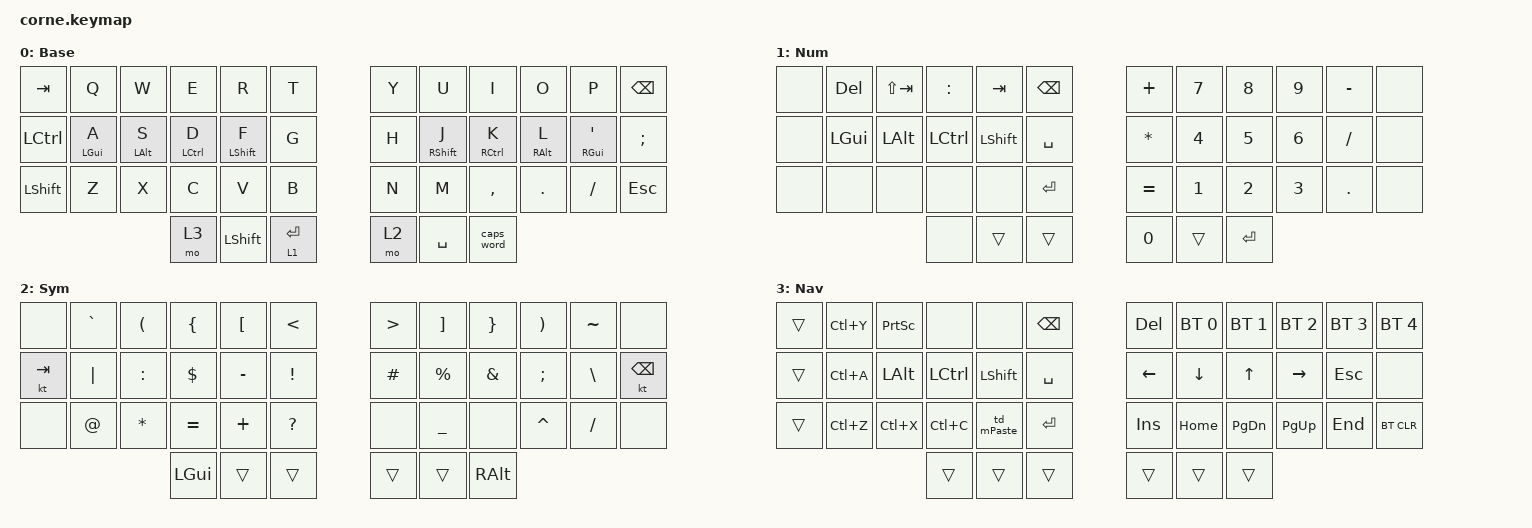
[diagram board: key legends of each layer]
/*
 * Copyright (c) 2020 The ZMK Contributors
 *
 * SPDX-License-Identifier: MIT
 */

#include <behaviors.dtsi>
#include <dt-bindings/zmk/bt.h>
#include <dt-bindings/zmk/keys.h>

&caps_word {
    continue-list = <UNDERSCORE MINUS BACKSPACE SEMICOLON COLON>;
};

/ {

/*                KEY POSITIONS

  ╭─────────────────────╮ ╭─────────────────────╮
  │  0  1  2  3  4  5   │ │  6  7  8  9 10 11   │
  │ 12 13 14 15 16 17   │ │ 18 19 20 21 22 23   │
  │ 24 25 26 27 28 29   │ │ 30 31 32 33 34 35   │
  ╰───────╮ 36 37 38    │ │ 39 40 41   ╭────────╯
          ╰─────────────╯ ╰────────────╯ */


    combos {
        compatible = "zmk,combos";

//        combo_enter {
//            bindings = <&kp ENTER>;
//            key-positions = <7 8>;
//	    timeout-ms = <50>;
//	    require-prior-idle-ms = <150>;
//        };

        combo_tab {
            bindings = <&kp TAB>;
            key-positions = <4 3>;
            timeout-ms = <50>;
	    require-prior-idle-ms = <150>;

        };

        combo_esc {
            bindings = <&kp ESCAPE>;
            key-positions = <2 3>;
            timeout-ms = <50>;
	    require-prior-idle-ms = <150>;

        };
	combo_bspc {
	    bindings = <&kp BSPC>;
	    key-positions = <7 8>;
	    timeout-ms = <50>;
	    require-prior-idle-ms = <150>;

	};
    };

    behaviors {
        td_mPaste: td_mPaste {
            compatible = "zmk,behavior-tap-dance";
            label = "TD_MPASTE";
            #binding-cells = <0>;
            bindings = <&kp LC(V)>, <&kp LG(V)>;
	
        };
	hml: home_row_mod_left {
            compatible = "zmk,behavior-hold-tap";
            #binding-cells = <2>;
	    flavor = "balanced";
            require-prior-idle-ms = <150>;
            tapping-term-ms = <280>;
            quick-tap-ms = <175>;
            bindings = <&kp>, <&kp>;
            hold-trigger-key-positions = < 6 7 8 9 10 11 18 19 20 21 22 23 30 31 32 33 34 35 39 40 41 >; // List of keys on the right side of the keyboard
            hold-trigger-on-release;

        };
        hmr: home_row_mod_right {
            compatible = "zmk,behavior-hold-tap";
            #binding-cells = <2>;
            flavor = "balanced";
            require-prior-idle-ms = <150>;
            tapping-term-ms = <280>;
            quick-tap-ms = <175>;
            bindings = <&kp>, <&kp>;
            hold-trigger-key-positions = < 0 1 2 3 4 5 12 13 14 15 16 17 24 25 26 27 28 29 36 37 38 >; // List of keys on the left side of the keyboard
            hold-trigger-on-release;

	};
/* TODO: Finish magic shift setup. 
	magic_shift: magic_shift {
	    compatible = "zmk,behavior-hold-tap";
/	    #binding-cells = <2>;
/	    flavor = "balanced";
/	    tapping-term-ms = <200>;
/	    quick-tap-ms = <175>;
/	    bindings = <&kp>, <&magic_shift_tap>;
/	};
/	magic_shift_tap: magic_shift_tap {
/	    compatible = "zmk,behavior-mod-morph";
/	    #binding-cells = <0>;
/	    bindings = <&shift_repeat>, <&caps_word;
/	    mods = <(MOD_LSFT)>;
/	};
*/
    };


    keymap {
        compatible = "zmk,keymap";

        default_layer {
            display-name = "Base";
            bindings = <
//  ╭─────────────┬─────────────┬─────────────┬─────────────┬─────────────┬─────────────╮   ╭─────────────┬─────────────┬─────────────┬─────────────┬─────────────┬─────────────╮
        &kp TAB       &kp Q          &kp W         &kp E         &kp R         &kp T             &kp Y         &kp U         &kp I         &kp O         &kp P        &kp BSPC
//  ├─────────────┼─────────────┼─────────────┼─────────────┼─────────────┼─────────────┤   ├─────────────┼─────────────┼─────────────┼─────────────┼─────────────┼─────────────┤
       &kp LCTRL   &hml LGUI A   &hml LALT S   &hml LCTRL D  &hml LSHIFT F     &kp G            &kp H      &hmr RSHIFT J &hmr RCTRL K  &hmr RALT L   &hmr RGUI SQT &kp SEMICOLON
//  ├─────────────┼─────────────┼─────────────┼─────────────┼─────────────┼─────────────┤   ├─────────────┼─────────────┼─────────────┼─────────────┼─────────────┼─────────────┤
       &kp LSHFT      &kp Z          &kp X         &kp C         &kp V         &kp B            &kp N          &kp M       &kp COMMA     &kp DOT        &kp FSLH      &kp ESC
//  ╰─────────────────────────────────────────┼─────────────┼─────────────┼─────────────┤   ├─────────────┼─────────────┼─────────────┼─────────────────────────────────────────╯
                      			       &mo 3         &kp LSHFT     &lt 1 ENTER       &mo 2         &kp SPACE     &caps_word
//                                            ╰─────────────┴─────────────┴─────────────╯   ╰─────────────┴─────────────┴─────────────╯
            >;
        };

        num {
            display-name = "Num";
            bindings = <
//  ╭─────────────┬─────────────┬─────────────┬─────────────┬─────────────┬─────────────╮   ╭─────────────┬─────────────┬─────────────┬─────────────┬─────────────┬─────────────╮
	&none 	      &kp DEL     &kp LS(TAB)    &kp COLON      &kp TAB      &kp BSPC          &kp PLUS       &kp N7        &kp N8        &kp N9       &kp MINUS       &none
//  ├─────────────┼─────────────┼─────────────┼─────────────┼─────────────┼─────────────┤   ├─────────────┼─────────────┼─────────────┼─────────────┼─────────────┼─────────────┤
        &none        &kp LGUI      &kp LALT      &kp LCTRL     &kp LSHFT     &kp SPACE         &kp STAR       &kp N4        &kp N5        &kp N6       &kp FSLH        &none
//  ├─────────────┼─────────────┼─────────────┼─────────────┼─────────────┼─────────────┤   ├─────────────┼─────────────┼─────────────┼─────────────┼─────────────┼─────────────┤
        &none          &none         &none        &none          &none       &kp ENTER         &kp EQUAL      &kp N1        &kp N2        &kp N3       &kp DOT         &none
//  ╰─────────────────────────────────────────┼─────────────┼─────────────┼─────────────┤   ├─────────────┼─────────────┼─────────────┼─────────────────────────────────────────╯
                                                  &none         &trans       &trans          &kp N0        &trans        &kp ENTER
//                                            ╰─────────────┴─────────────┴─────────────╯   ╰─────────────┴─────────────┴─────────────╯

            >;
        };

        sym {
            display-name = "Sym";
            bindings = <
//  ╭─────────────┬─────────────┬─────────────┬─────────────┬─────────────┬─────────────╮   ╭─────────────┬─────────────┬─────────────┬─────────────┬─────────────┬─────────────╮
        &none        &kp GRAVE     &kp LPAR    &kp LEFT_BRACE  &kp LBKT       &kp LT             &kp GT      &kp RBKT   &kp RIGHT_BRACE   &kp RPAR     &kp TILDE       &none
//  ├─────────────┼─────────────┼─────────────┼─────────────┼─────────────┼─────────────┤   ├─────────────┼─────────────┼─────────────┼─────────────┼─────────────┼─────────────┤
       &kt TAB       &kp PIPE      &kp COLON    &kp DOLLAR     &kp MINUS  &kp EXCLAMATION      &kp HASH     &kp PERCENT  &kp AMPERSAND &kp SEMICOLON   &kp BSLH    &kt BACKSPACE
//  ├─────────────┼─────────────┼─────────────┼─────────────┼─────────────┼─────────────┤   ├─────────────┼─────────────┼─────────────┼─────────────┼─────────────┼─────────────┤
        &none       &kp AT_SIGN  &kp ASTERISK    &kp EQUAL     &kp PLUS    &kp QUESTION          &none    &kp UNDERSCORE     &none       &kp CARET     &kp SLASH       &none
//  ╰─────────────────────────────────────────┼─────────────┼─────────────┼─────────────┤   ├─────────────┼─────────────┼─────────────┼─────────────────────────────────────────╯
                                                 &kp LGUI       &trans       &trans             &trans        &trans       &kp RALT
//                                            ╰─────────────┴─────────────┴─────────────╯   ╰─────────────┴─────────────┴─────────────╯

            >;
        };

        Nav {
	    display-name = "Nav";
            bindings = <
//  ╭─────────────┬─────────────┬─────────────┬─────────────┬─────────────┬─────────────╮   ╭─────────────┬─────────────┬─────────────┬─────────────┬─────────────┬─────────────╮
        &trans       &kp LC(Y)  &kp PRINTSCREEN    &none         &none     &kp BACKSPACE        &kp DEL    &bt BT_SEL 0  &bt BT_SEL 1  &bt BT_SEL 2  &bt BT_SEL 3  &bt BT_SEL 4
//  ├─────────────┼─────────────┼─────────────┼─────────────┼─────────────┼─────────────┤   ├─────────────┼─────────────┼─────────────┼─────────────┼─────────────┼─────────────┤
        &trans       &kp LC(A)     &kp LALT      &kp LCTRL     &kp LSHFT     &kp SPACE         &kp LEFT      &kp DOWN       &kp UP       &kp RIGHT      &kp ESC       &none
//  ├─────────────┼─────────────┼─────────────┼─────────────┼─────────────┼─────────────┤   ├─────────────┼─────────────┼─────────────┼─────────────┼─────────────┼─────────────┤
        &trans       &kp LC(Z)     &kp LC(X)     &kp LC(C)    &td_mPaste     &kp ENTER        &kp INSERT     &kp HOME      &kp PG_DN     &kp PG_UP     &kp END       &bt BT_CLR
//  ╰─────────────────────────────────────────┼─────────────┼─────────────┼─────────────┤   ├─────────────┼─────────────┼─────────────┼─────────────────────────────────────────╯
                                                  &trans        &trans        &trans            &trans        &trans        &trans
//                                            ╰─────────────┴─────────────┴─────────────╯   ╰─────────────┴─────────────┴─────────────╯

            >;
        };

        extra_1 { status = "reserved"; };

        extra_2 { status = "reserved"; };

        extra_3 { status = "reserved"; };
    };
};
